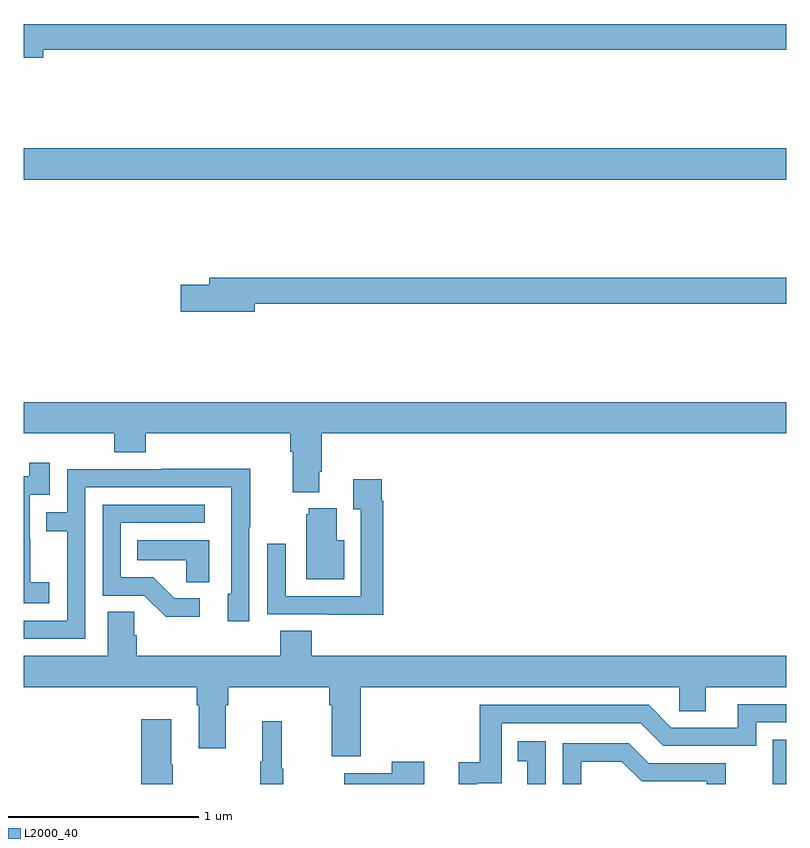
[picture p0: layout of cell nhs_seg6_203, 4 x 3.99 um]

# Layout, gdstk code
import gdstk
lib = gdstk.Library(unit=1e-6, precision=1e-09)
def R(c, l, rs):  # rectangles x0, y0, x1, y1
    for r in rs: c.add(gdstk.rectangle(r[:2], r[2:], *l))
def P(c, l, *ps):  # polygons
    for p in ps: c.add(gdstk.Polygon(p, *l))
L2000_40 = (2000, 40)

nhs_seg6_203 = lib.new_cell('nhs_seg6_203')
R(nhs_seg6_203, L2000_40, [(121,944.672,125,944.836)])
P(nhs_seg6_203, L2000_40, [(121.102,945.352),(125,945.352),(125,945.488),(121,945.488),(121,945.31),(121.102,945.31)],
  [(122.212,944.02),(125,944.02),(125,944.156),(121.973,944.156),(121.973,944.12),(121.824,944.12),(121.824,943.978),(122.212,943.978)],
  [(122.551,943.138),(122.564,943.138),(122.564,943.34),(125,943.34),(125,943.504),(121,943.504),(121,943.34),(121.475,943.34),(121.475,943.241),(121.64,943.241),(121.64,943.34),(122.399,943.34),(122.399,943.244),(122.411,943.244),(122.411,943.031),(122.551,943.031)],
  [(121.132,942.559),(121.034,942.559),(121.034,942.788),(121.032,942.788),(121.032,943.017),(121.137,943.017),(121.137,943.186),(121.029,943.186),(121.029,943.116),(121,943.116),(121,942.449),(121.132,942.449)],
  [(121.323,943.056),(122.088,943.056),(122.088,942.498),(122.069,942.498),(122.069,942.354),(122.184,942.354),(122.184,942.847),(122.187,942.847),(122.187,943.154),(121.723,943.154),(121.723,943.152),(121.227,943.152),(121.227,942.927),(121.117,942.927),(121.117,942.826),(121.227,942.826),(121.227,942.357),(121,942.357),(121,942.261),(121.323,942.261)],
  [(122.885,942.986),(122.878,942.986),(122.878,943.099),(122.729,943.099),(122.729,942.943),(122.769,942.943),(122.769,942.486),(122.373,942.486),(122.373,942.76),(122.277,942.76),(122.277,942.39),(122.593,942.39),(122.593,942.389),(122.885,942.389)],
  [(121.924,942.474),(121.789,942.474),(121.678,942.585),(121.509,942.585),(121.509,942.87),(121.948,942.87),(121.948,942.966),(121.413,942.966),(121.413,942.489),(121.632,942.489),(121.745,942.377),(121.924,942.377)],
  [(122.68,942.778),(122.641,942.778),(122.641,942.946),(122.495,942.946),(122.495,942.915),(122.483,942.915),(122.483,942.575),(122.68,942.575)],
  [(121.972,942.778),(121.594,942.778),(121.594,942.674),(121.851,942.674),(121.851,942.559),(121.972,942.559)],
  [(122.768,942.008),(124.44,942.008),(124.44,941.881),(124.579,941.881),(124.579,942.008),(125,942.008),(125,942.172),(122.51,942.172),(122.51,942.305),(122.345,942.305),(122.345,942.172),(121.592,942.172),(121.592,942.281),(121.578,942.281),(121.578,942.404),(121.439,942.404),(121.439,942.172),(121,942.172),(121,942.008),(121.907,942.008),(121.907,941.912),(121.919,941.912),(121.919,941.688),(122.059,941.688),(122.059,941.912),(122.072,941.912),(122.072,942.008),(122.603,942.008),(122.603,941.912),(122.615,941.912),(122.615,941.646),(122.768,941.646)],
  [(123.378,941.505),(123.507,941.505),(123.507,941.82),(124.236,941.82),(124.356,941.7),(124.842,941.7),(124.842,941.823),(125,941.823),(125,941.919),(124.745,941.919),(124.745,941.796),(124.398,941.796),(124.278,941.916),(123.391,941.916),(123.391,941.614),(123.281,941.614),(123.281,941.5),(123.378,941.5)],
  [(121.782,941.6),(121.774,941.6),(121.774,941.839),(121.616,941.839),(121.616,941.5),(121.782,941.5)],
  [(122.362,941.58),(122.354,941.58),(122.354,941.83),(122.252,941.83),(122.252,941.617),(122.241,941.617),(122.241,941.5),(122.362,941.5)],
  [(125,941.731),(124.93,941.731),(124.93,941.525),(124.931,941.525),(124.931,941.5),(125,941.5)],
  [(123.738,941.725),(123.592,941.725),(123.592,941.619),(123.641,941.619),(123.641,941.5),(123.738,941.5)],
  [(123.924,941.618),(124.138,941.618),(124.242,941.514),(124.584,941.514),(124.584,941.5),(124.683,941.5),(124.683,941.61),(124.279,941.61),(124.174,941.715),(123.828,941.715),(123.828,941.5),(123.924,941.5)],
  [(123.1,941.617),(122.93,941.617),(122.93,941.557),(122.681,941.557),(122.681,941.5),(123.1,941.5)])

lib.write_gds('nhs_seg6_203.gds')
